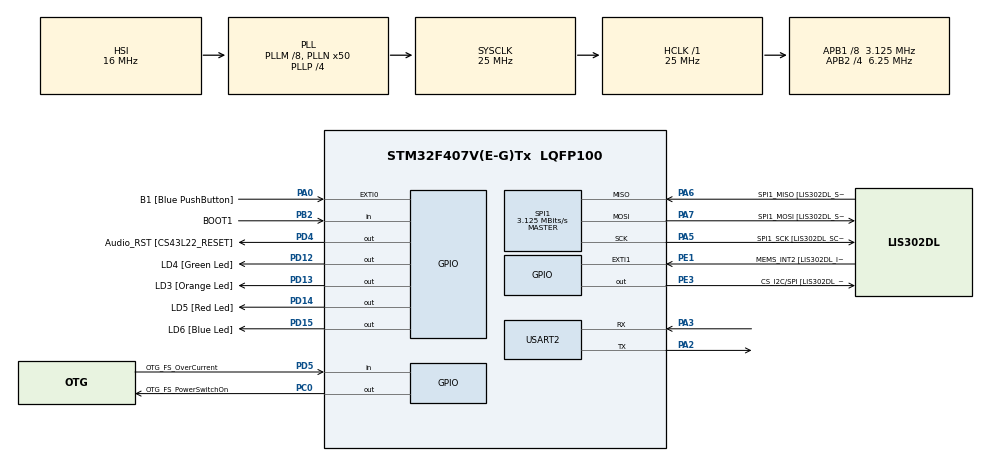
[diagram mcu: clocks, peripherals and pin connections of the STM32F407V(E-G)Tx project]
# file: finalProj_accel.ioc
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Mcu.Family=STM32F4
Mcu.Name=STM32F407V(E-G)Tx
Mcu.Package=LQFP100
NVIC.PriorityGroup=NVIC_PRIORITYGROUP_0
PA0-WKUP.GPIO_Label=B1 [Blue PushButton]
PA0-WKUP.GPIO_ModeDefaultEXTI=GPIO_MODE_EVT_RISING
PA0-WKUP.GPIO_PuPd=GPIO_NOPULL
PA0-WKUP.Signal=GPXTI0
PA10.GPIO_Label=OTG_FS_ID
PA10.GPIO_Mode=GPIO_MODE_AF_PP
PA10.GPIO_PuPd=GPIO_NOPULL
PA10.GPIO_Speed=GPIO_SPEED_FREQ_LOW
PA10.Signal=USB_OTG_FS_ID
PA11.GPIO_Label=OTG_FS_DM
PA11.GPIO_Mode=GPIO_MODE_AF_PP
PA11.GPIO_PuPd=GPIO_NOPULL
PA11.GPIO_Speed=GPIO_SPEED_FREQ_LOW
PA11.Signal=USB_OTG_FS_DM
PA12.GPIO_Label=OTG_FS_DP
PA12.GPIO_Mode=GPIO_MODE_AF_PP
PA12.GPIO_PuPd=GPIO_NOPULL
PA12.GPIO_Speed=GPIO_SPEED_FREQ_LOW
PA12.Signal=USB_OTG_FS_DP
PA13.GPIO_Label=SWDIO
PA13.Signal=SYS_JTMS-SWDIO
PA14.GPIO_Label=SWCLK
PA14.Signal=SYS_JTCK-SWCLK
PA2.Mode=Asynchronous
PA2.Signal=USART2_TX
PA3.Mode=Asynchronous
PA3.Signal=USART2_RX
PA4.GPIO_Label=I2S3_WS [CS43L22_LRCK]
PA4.GPIO_Mode=GPIO_MODE_AF_PP
PA4.GPIO_PuPd=GPIO_NOPULL
PA4.GPIO_Speed=GPIO_SPEED_FREQ_LOW
PA4.Signal=I2S3_WS
PA5.GPIO_Label=SPI1_SCK [LIS302DL_SCL/SPC]
PA5.GPIO_Mode=GPIO_MODE_AF_PP
PA5.GPIO_PuPd=GPIO_NOPULL
PA5.GPIO_Speed=GPIO_SPEED_FREQ_LOW
PA5.Mode=Full_Duplex_Master
PA5.Signal=SPI1_SCK
PA6.GPIO_Label=SPI1_MISO [LIS302DL_SDO]
PA6.GPIO_Mode=GPIO_MODE_AF_PP
PA6.GPIO_PuPd=GPIO_NOPULL
PA6.GPIO_Speed=GPIO_SPEED_FREQ_LOW
PA6.Mode=Full_Duplex_Master
PA6.Signal=SPI1_MISO
PA7.GPIO_Label=SPI1_MOSI [LIS302DL_SDA/SDI/SDO]
PA7.GPIO_Mode=GPIO_MODE_AF_PP
PA7.GPIO_PuPd=GPIO_NOPULL
PA7.GPIO_Speed=GPIO_SPEED_FREQ_LOW
PA7.Mode=Full_Duplex_Master
PA7.Signal=SPI1_MOSI
PA9.GPIO_Label=VBUS_FS
PA9.GPIO_Mode=GPIO_MODE_INPUT
PA9.GPIO_PuPd=GPIO_NOPULL
PA9.Signal=USB_OTG_FS_VBUS
PB10.GPIO_Label=CLK_IN [MP45DT02_CLK]
PB10.GPIO_Mode=GPIO_MODE_AF_PP
PB10.GPIO_PuPd=GPIO_NOPULL
PB10.GPIO_Speed=GPIO_SPEED_FREQ_LOW
PB10.Signal=I2S2_CK
PB2.GPIO_Label=BOOT1
PB2.GPIO_Mode=GPIO_MODE_INPUT
PB2.GPIO_PuPd=GPIO_NOPULL
PB2.Signal=GPIO_Input
PB3.GPIO_Label=SWO
PB3.Signal=SYS_JTDO-SWO
PB6.GPIO_Label=Audio_SCL [CS43L22_SCL]
PB6.GPIO_Mode=GPIO_MODE_AF_OD
PB6.GPIO_PuPd=GPIO_NOPULL
PB6.GPIO_Speed=GPIO_SPEED_FREQ_LOW
PB6.Signal=I2C1_SCL
PB9.GPIO_Label=Audio_SDA [CS43L22_SDA]
PB9.GPIO_Mode=GPIO_MODE_AF_OD
PB9.GPIO_PuPd=GPIO_NOPULL
PB9.GPIO_Speed=GPIO_SPEED_FREQ_LOW
PB9.Signal=I2C1_SDA
PC0.GPIO_Label=OTG_FS_PowerSwitchOn
PC0.GPIO_PuPd=GPIO_NOPULL
PC0.GPIO_Speed=GPIO_SPEED_FREQ_LOW
PC0.PinState=GPIO_PIN_SET
PC0.Signal=GPIO_Output
PC10.GPIO_Label=I2S3_SCK [CS43L22_SCLK]
PC10.GPIO_Mode=GPIO_MODE_AF_PP
PC10.GPIO_PuPd=GPIO_NOPULL
PC10.GPIO_Speed=GPIO_SPEED_FREQ_LOW
PC10.Signal=I2S3_CK
PC12.GPIO_Label=I2S3_SD [CS43L22_SDIN]
PC12.GPIO_Mode=GPIO_MODE_AF_PP
PC12.GPIO_PuPd=GPIO_NOPULL
PC12.GPIO_Speed=GPIO_SPEED_FREQ_LOW
PC12.Signal=I2S3_SD
PC14-OSC32_IN.GPIO_Label=PC14-OSC32_IN
PC14-OSC32_IN.Signal=RCC_OSC32_IN
PC15-OSC32_OUT.GPIO_Label=PC15-OSC32_OUT
PC15-OSC32_OUT.Signal=RCC_OSC32_OUT
PC3.GPIO_Label=PDM_OUT [MP45DT02_DOUT]
PC3.GPIO_Mode=GPIO_MODE_AF_PP
PC3.GPIO_PuPd=GPIO_NOPULL
PC3.GPIO_Speed=GPIO_SPEED_FREQ_LOW
PC3.Signal=I2S2_SD
PC7.GPIO_Label=I2S3_MCK [CS43L22_MCLK]
PC7.GPIO_Mode=GPIO_MODE_AF_PP
PC7.GPIO_PuPd=GPIO_NOPULL
PC7.GPIO_Speed=GPIO_SPEED_FREQ_LOW
PC7.Signal=I2S3_MCK
PD12.GPIO_Label=LD4 [Green Led]
PD12.GPIO_PuPd=GPIO_NOPULL
PD12.GPIO_Speed=GPIO_SPEED_FREQ_LOW
PD12.Signal=GPIO_Output
PD13.GPIO_Label=LD3 [Orange Led]
PD13.GPIO_PuPd=GPIO_NOPULL
PD13.GPIO_Speed=GPIO_SPEED_FREQ_LOW
PD13.Signal=GPIO_Output
PD14.GPIO_Label=LD5 [Red Led]
PD14.GPIO_PuPd=GPIO_NOPULL
PD14.GPIO_Speed=GPIO_SPEED_FREQ_LOW
PD14.Signal=GPIO_Output
PD15.GPIO_Label=LD6 [Blue Led]
PD15.GPIO_PuPd=GPIO_NOPULL
PD15.GPIO_Speed=GPIO_SPEED_FREQ_LOW
PD15.Signal=GPIO_Output
PD4.GPIO_Label=Audio_RST [CS43L22_RESET]
PD4.GPIO_PuPd=GPIO_NOPULL
PD4.GPIO_Speed=GPIO_SPEED_FREQ_LOW
PD4.Signal=GPIO_Output
PD5.GPIO_Label=OTG_FS_OverCurrent
PD5.GPIO_Mode=GPIO_MODE_INPUT
PD5.GPIO_PuPd=GPIO_NOPULL
PD5.Signal=GPIO_Input
PE1.GPIO_Label=MEMS_INT2 [LIS302DL_INT2]
PE1.GPIO_ModeDefaultEXTI=GPIO_MODE_EVT_RISING
PE1.GPIO_PuPd=GPIO_NOPULL
PE1.Signal=GPXTI1
PE3.GPIO_Label=CS_I2C/SPI [LIS302DL_CS_I2C/SPI]
PE3.GPIO_PuPd=GPIO_NOPULL
PE3.GPIO_Speed=GPIO_SPEED_FREQ_LOW
PE3.Signal=GPIO_Output
PH0-OSC_IN.GPIO_Label=PH0-OSC_IN
PH0-OSC_IN.Signal=RCC_OSC_IN
PH1-OSC_OUT.GPIO_Label=PH1-OSC_OUT
PH1-OSC_OUT.Signal=RCC_OSC_OUT
ProjectManager.HeapSize=0x200
ProjectManager.StackSize=0x400
ProjectManager.TargetToolchain=SW4STM32
RCC.48MHZClocksFreq_Value=14285714.285714285
RCC.AHBFreq_Value=25000000
RCC.APB1CLKDivider=RCC_HCLK_DIV8
RCC.APB1Freq_Value=3125000
RCC.APB1TimFreq_Value=6250000
RCC.APB2CLKDivider=RCC_HCLK_DIV4
RCC.APB2Freq_Value=6250000
RCC.APB2TimFreq_Value=12500000
RCC.CortexFreq_Value=25000000
RCC.HCLKFreq_Value=25000000
RCC.HSE_VALUE=8000000
RCC.HSI_VALUE=16000000
RCC.LSE_VALUE=32768
RCC.PLLM=8
RCC.PLLN=50
RCC.PLLP=RCC_PLLP_DIV4
RCC.PLLQ=7
RCC.SYSCLKFreq_VALUE=25000000
RCC.SYSCLKSource=RCC_SYSCLKSOURCE_PLLCLK
RCC.VCOOutputFreq_Value=100000000
SPI1.CalculateBaudRate=3.125 MBits/s
SPI1.Mode=SPI_MODE_MASTER
board=STM32F4DISCOVERY

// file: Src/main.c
/**
  ******************************************************************************
  * File Name          : main.c
  * Description        : Main program body
  ******************************************************************************
  *
  * COPYRIGHT(c) 2016 STMicroelectronics
  *
  * Redistribution and use in source and binary forms, with or without modification,
  * are permitted provided that the following conditions are met:
  *   1. Redistributions of source code must retain the above copyright notice,
  *      this list of conditions and the following disclaimer.
  *   2. Redistributions in binary form must reproduce the above copyright notice,
  *      this list of conditions and the following disclaimer in the documentation
  *      and/or other materials provided with the distribution.
  *   3. Neither the name of STMicroelectronics nor the names of its contributors
  *      may be used to endorse or promote products derived from this software
  *      without specific prior written permission.
  *
  * THIS SOFTWARE IS PROVIDED BY THE COPYRIGHT HOLDERS AND CONTRIBUTORS "AS IS"
  * AND ANY EXPRESS OR IMPLIED WARRANTIES, INCLUDING, BUT NOT LIMITED TO, THE
  * IMPLIED WARRANTIES OF MERCHANTABILITY AND FITNESS FOR A PARTICULAR PURPOSE ARE
  * DISCLAIMED. IN NO EVENT SHALL THE COPYRIGHT HOLDER OR CONTRIBUTORS BE LIABLE
  * FOR ANY DIRECT, INDIRECT, INCIDENTAL, SPECIAL, EXEMPLARY, OR CONSEQUENTIAL
  * DAMAGES (INCLUDING, BUT NOT LIMITED TO, PROCUREMENT OF SUBSTITUTE GOODS OR
  * SERVICES; LOSS OF USE, DATA, OR PROFITS; OR BUSINESS INTERRUPTION) HOWEVER
  * CAUSED AND ON ANY THEORY OF LIABILITY, WHETHER IN CONTRACT, STRICT LIABILITY,
  * OR TORT (INCLUDING NEGLIGENCE OR OTHERWISE) ARISING IN ANY WAY OUT OF THE USE
  * OF THIS SOFTWARE, EVEN IF ADVISED OF THE POSSIBILITY OF SUCH DAMAGE.
  *
  ******************************************************************************
  */
#include "stm32f4xx_hal.h"

SPI_HandleTypeDef hspi1;

UART_HandleTypeDef huart2;

/* USER CODE BEGIN PV */
/* Private variables ---------------------------------------------------------*/

/* USER CODE END PV */

void SystemClock_Config(void);
void Error_Handler(void);
static void MX_GPIO_Init(void);
static void MX_SPI1_Init(void);
static void MX_USART2_UART_Init(void);

/* USER CODE BEGIN PFP */
/* Private function prototypes -----------------------------------------------*/

/* USER CODE END PFP */

int main(void)
{

  /* USER CODE BEGIN 1 */
	uint8_t address,data,x_accel,y_accel,z_accel,buffer[100];
	uint32_t timeout=100;
  /* USER CODE END 1 */

  /* MCU Configuration----------------------------------------------------------*/

  /* Reset of all peripherals, Initializes the Flash interface and the Systick. */
  HAL_Init();

  /* Configure the system clock */
  SystemClock_Config();

  /* Initialize all configured peripherals */
  MX_GPIO_Init();
  MX_SPI1_Init();
  MX_USART2_UART_Init();

  /* USER CODE BEGIN 2 */
  	HAL_GPIO_WritePin(GPIOE,GPIO_PIN_3,GPIO_PIN_RESET);
	address=0x20;		//address CTRL_REG1 @20h
	HAL_SPI_Transmit(&hspi1,&address,1,timeout);
	//  data=0x67;		//set value for CTRL_REG1 #01100111
	data=0x47;		//						   01000111
	HAL_SPI_Transmit(&hspi1,&data,1,timeout);
	HAL_GPIO_WritePin(GPIOE,GPIO_PIN_3,GPIO_PIN_SET);
  /* USER CODE END 2 */

  /* Infinite loop */
  while (1)
  {

  /* USER CODE BEGIN 3 */
	 //read x-accel
		HAL_GPIO_WritePin(GPIOE,GPIO_PIN_3,GPIO_PIN_RESET);
		address=0x29 + 0x80;	//address x_out @29h
		HAL_SPI_Transmit(&hspi1,&address,1,timeout);
		HAL_SPI_Receive(&hspi1,&x_accel,1,timeout);
		//HAL_GPIO_WritePin(GPIOE,GPIO_PIN_3,GPIO_PIN_SET);
	//read y-accel
		//HAL_GPIO_WritePin(GPIOE,GPIO_PIN_3,GPIO_PIN_RESET);
		address=0x2B + 0x80;	//address x_out @29h
		HAL_SPI_Transmit(&hspi1,&address,1,timeout);
		HAL_SPI_Receive(&hspi1,&y_accel,1,timeout);
		//HAL_GPIO_WritePin(GPIOE,GPIO_PIN_3,GPIO_PIN_SET);
	//read z-accel
		//HAL_GPIO_WritePin(GPIOE,GPIO_PIN_3,GPIO_PIN_RESET);
		address=0x2D + 0x80;	//address z_out @29h
		HAL_SPI_Transmit(&hspi1,&address,1,timeout);
		HAL_SPI_Receive(&hspi1,&z_accel,1,timeout);
		HAL_GPIO_WritePin(GPIOE,GPIO_PIN_3,GPIO_PIN_SET);

		int nac=sprintf(buffer," | %3d | %3d  | %3d |\r\n",x_accel,y_accel,z_accel);
		HAL_UART_Transmit(&huart2,buffer,nac,timeout);
		//*/

		///*
		//show accel through LEDs
		if(x_accel>0x00 && x_accel<0x40)
			HAL_GPIO_WritePin(GPIOD,GPIO_PIN_14,GPIO_PIN_SET);
		else HAL_GPIO_WritePin(GPIOD,GPIO_PIN_14,GPIO_PIN_RESET);
		if(x_accel>0xA0 && x_accel<0xFE)
			HAL_GPIO_WritePin(GPIOD,GPIO_PIN_12,GPIO_PIN_SET);
		else HAL_GPIO_WritePin(GPIOD,GPIO_PIN_12,GPIO_PIN_RESET);
		//
		if(y_accel>0x00 && y_accel<0x40)
					HAL_GPIO_WritePin(GPIOD,GPIO_PIN_13,GPIO_PIN_SET);
		else HAL_GPIO_WritePin(GPIOD,GPIO_PIN_13,GPIO_PIN_RESET);
		if(y_accel>0xA0 && y_accel<0xFE)
			HAL_GPIO_WritePin(GPIOD,GPIO_PIN_15,GPIO_PIN_SET);
		else HAL_GPIO_WritePin(GPIOD,GPIO_PIN_15,GPIO_PIN_RESET);
		//*/

  }
  /* USER CODE END 3 */

}

/** System Clock Configuration
*/
void SystemClock_Config(void)
{

  RCC_OscInitTypeDef RCC_OscInitStruct;
  RCC_ClkInitTypeDef RCC_ClkInitStruct;

  __HAL_RCC_PWR_CLK_ENABLE();

  __HAL_PWR_VOLTAGESCALING_CONFIG(PWR_REGULATOR_VOLTAGE_SCALE1);

  RCC_OscInitStruct.OscillatorType = RCC_OSCILLATORTYPE_HSI;
  RCC_OscInitStruct.HSIState = RCC_HSI_ON;
  RCC_OscInitStruct.HSICalibrationValue = 16;
  RCC_OscInitStruct.PLL.PLLState = RCC_PLL_ON;
  RCC_OscInitStruct.PLL.PLLSource = RCC_PLLSOURCE_HSI;
  RCC_OscInitStruct.PLL.PLLM = 8;
  RCC_OscInitStruct.PLL.PLLN = 50;
  RCC_OscInitStruct.PLL.PLLP = RCC_PLLP_DIV4;
  RCC_OscInitStruct.PLL.PLLQ = 7;
  if (HAL_RCC_OscConfig(&RCC_OscInitStruct) != HAL_OK)
  {
    Error_Handler();
  }

  RCC_ClkInitStruct.ClockType = RCC_CLOCKTYPE_HCLK|RCC_CLOCKTYPE_SYSCLK
                              |RCC_CLOCKTYPE_PCLK1|RCC_CLOCKTYPE_PCLK2;
  RCC_ClkInitStruct.SYSCLKSource = RCC_SYSCLKSOURCE_PLLCLK;
  RCC_ClkInitStruct.AHBCLKDivider = RCC_SYSCLK_DIV1;
  RCC_ClkInitStruct.APB1CLKDivider = RCC_HCLK_DIV8;
  RCC_ClkInitStruct.APB2CLKDivider = RCC_HCLK_DIV4;
  if (HAL_RCC_ClockConfig(&RCC_ClkInitStruct, FLASH_LATENCY_0) != HAL_OK)
  {
    Error_Handler();
  }

  HAL_SYSTICK_Config(HAL_RCC_GetHCLKFreq()/1000);

  HAL_SYSTICK_CLKSourceConfig(SYSTICK_CLKSOURCE_HCLK);

  /* SysTick_IRQn interrupt configuration */
  HAL_NVIC_SetPriority(SysTick_IRQn, 0, 0);
}

/* SPI1 init function */
static void MX_SPI1_Init(void)
{

  hspi1.Instance = SPI1;
  hspi1.Init.Mode = SPI_MODE_MASTER;
  hspi1.Init.Direction = SPI_DIRECTION_2LINES;
  hspi1.Init.DataSize = SPI_DATASIZE_8BIT;
  hspi1.Init.CLKPolarity = SPI_POLARITY_LOW;
  hspi1.Init.CLKPhase = SPI_PHASE_1EDGE;
  hspi1.Init.NSS = SPI_NSS_SOFT;
  hspi1.Init.BaudRatePrescaler = SPI_BAUDRATEPRESCALER_2;
  hspi1.Init.FirstBit = SPI_FIRSTBIT_MSB;
  hspi1.Init.TIMode = SPI_TIMODE_DISABLE;
  hspi1.Init.CRCCalculation = SPI_CRCCALCULATION_DISABLE;
  hspi1.Init.CRCPolynomial = 10;
  if (HAL_SPI_Init(&hspi1) != HAL_OK)
  {
    Error_Handler();
  }

}

/* USART2 init function */
static void MX_USART2_UART_Init(void)
{

  huart2.Instance = USART2;
  huart2.Init.BaudRate = 115200;
  huart2.Init.WordLength = UART_WORDLENGTH_8B;
  huart2.Init.StopBits = UART_STOPBITS_1;
  huart2.Init.Parity = UART_PARITY_NONE;
  huart2.Init.Mode = UART_MODE_TX_RX;
  huart2.Init.HwFlowCtl = UART_HWCONTROL_NONE;
  huart2.Init.OverSampling = UART_OVERSAMPLING_16;
  if (HAL_UART_Init(&huart2) != HAL_OK)
  {
    Error_Handler();
  }

}

/** Configure pins as
        * Analog
        * Input
        * Output
        * EVENT_OUT
        * EXTI
     PC3   ------> I2S2_SD
     PA4   ------> I2S3_WS
     PB10   ------> I2S2_CK
     PC7   ------> I2S3_MCK
     PA9   ------> USB_OTG_FS_VBUS
     PA10   ------> USB_OTG_FS_ID
     PA11   ------> USB_OTG_FS_DM
     PA12   ------> USB_OTG_FS_DP
     PC10   ------> I2S3_CK
     PC12   ------> I2S3_SD
     PB6   ------> I2C1_SCL
     PB9   ------> I2C1_SDA
*/
static void MX_GPIO_Init(void)
{

  GPIO_InitTypeDef GPIO_InitStruct;

  /* GPIO Ports Clock Enable */
  __HAL_RCC_GPIOE_CLK_ENABLE();
  __HAL_RCC_GPIOC_CLK_ENABLE();
  __HAL_RCC_GPIOH_CLK_ENABLE();
  __HAL_RCC_GPIOA_CLK_ENABLE();
  __HAL_RCC_GPIOB_CLK_ENABLE();
  __HAL_RCC_GPIOD_CLK_ENABLE();

  /*Configure GPIO pin Output Level */
  HAL_GPIO_WritePin(CS_I2C_SPI_GPIO_Port, CS_I2C_SPI_Pin, GPIO_PIN_RESET);

  /*Configure GPIO pin Output Level */
  HAL_GPIO_WritePin(OTG_FS_PowerSwitchOn_GPIO_Port, OTG_FS_PowerSwitchOn_Pin, GPIO_PIN_SET);

  /*Configure GPIO pin Output Level */
  HAL_GPIO_WritePin(GPIOD, LD4_Pin|LD3_Pin|LD5_Pin|LD6_Pin
                          |Audio_RST_Pin, GPIO_PIN_RESET);

  /*Configure GPIO pin : CS_I2C_SPI_Pin */
  GPIO_InitStruct.Pin = CS_I2C_SPI_Pin;
  GPIO_InitStruct.Mode = GPIO_MODE_OUTPUT_PP;
  GPIO_InitStruct.Pull = GPIO_NOPULL;
  GPIO_InitStruct.Speed = GPIO_SPEED_FREQ_LOW;
  HAL_GPIO_Init(CS_I2C_SPI_GPIO_Port, &GPIO_InitStruct);

  /*Configure GPIO pin : OTG_FS_PowerSwitchOn_Pin */
  GPIO_InitStruct.Pin = OTG_FS_PowerSwitchOn_Pin;
  GPIO_InitStruct.Mode = GPIO_MODE_OUTPUT_PP;
  GPIO_InitStruct.Pull = GPIO_NOPULL;
  GPIO_InitStruct.Speed = GPIO_SPEED_FREQ_LOW;
  HAL_GPIO_Init(OTG_FS_PowerSwitchOn_GPIO_Port, &GPIO_InitStruct);

  /*Configure GPIO pin : PDM_OUT_Pin */
  GPIO_InitStruct.Pin = PDM_OUT_Pin;
  GPIO_InitStruct.Mode = GPIO_MODE_AF_PP;
  GPIO_InitStruct.Pull = GPIO_NOPULL;
  GPIO_InitStruct.Speed = GPIO_SPEED_FREQ_LOW;
  GPIO_InitStruct.Alternate = GPIO_AF5_SPI2;
  HAL_GPIO_Init(PDM_OUT_GPIO_Port, &GPIO_InitStruct);

  /*Configure GPIO pin : B1_Pin */
  GPIO_InitStruct.Pin = B1_Pin;
  GPIO_InitStruct.Mode = GPIO_MODE_EVT_RISING;
  GPIO_InitStruct.Pull = GPIO_NOPULL;
  HAL_GPIO_Init(B1_GPIO_Port, &GPIO_InitStruct);

  /*Configure GPIO pin : PA4 */
  GPIO_InitStruct.Pin = GPIO_PIN_4;
  GPIO_InitStruct.Mode = GPIO_MODE_AF_PP;
  GPIO_InitStruct.Pull = GPIO_NOPULL;
  GPIO_InitStruct.Speed = GPIO_SPEED_FREQ_LOW;
  GPIO_InitStruct.Alternate = GPIO_AF6_SPI3;
  HAL_GPIO_Init(GPIOA, &GPIO_InitStruct);

  /*Configure GPIO pin : BOOT1_Pin */
  GPIO_InitStruct.Pin = BOOT1_Pin;
  GPIO_InitStruct.Mode = GPIO_MODE_INPUT;
  GPIO_InitStruct.Pull = GPIO_NOPULL;
  HAL_GPIO_Init(BOOT1_GPIO_Port, &GPIO_InitStruct);

  /*Configure GPIO pin : CLK_IN_Pin */
  GPIO_InitStruct.Pin = CLK_IN_Pin;
  GPIO_InitStruct.Mode = GPIO_MODE_AF_PP;
  GPIO_InitStruct.Pull = GPIO_NOPULL;
  GPIO_InitStruct.Speed = GPIO_SPEED_FREQ_LOW;
  GPIO_InitStruct.Alternate = GPIO_AF5_SPI2;
  HAL_GPIO_Init(CLK_IN_GPIO_Port, &GPIO_InitStruct);

  /*Configure GPIO pins : LD4_Pin LD3_Pin LD5_Pin LD6_Pin
                           Audio_RST_Pin */
  GPIO_InitStruct.Pin = LD4_Pin|LD3_Pin|LD5_Pin|LD6_Pin
                          |Audio_RST_Pin;
  GPIO_InitStruct.Mode = GPIO_MODE_OUTPUT_PP;
  GPIO_InitStruct.Pull = GPIO_NOPULL;
  GPIO_InitStruct.Speed = GPIO_SPEED_FREQ_LOW;
  HAL_GPIO_Init(GPIOD, &GPIO_InitStruct);

  /*Configure GPIO pins : PC7 I2S3_SCK_Pin PC12 */
  GPIO_InitStruct.Pin = GPIO_PIN_7|I2S3_SCK_Pin|GPIO_PIN_12;
  GPIO_InitStruct.Mode = GPIO_MODE_AF_PP;
  GPIO_InitStruct.Pull = GPIO_NOPULL;
  GPIO_InitStruct.Speed = GPIO_SPEED_FREQ_LOW;
  GPIO_InitStruct.Alternate = GPIO_AF6_SPI3;
  HAL_GPIO_Init(GPIOC, &GPIO_InitStruct);

  /*Configure GPIO pin : VBUS_FS_Pin */
  GPIO_InitStruct.Pin = VBUS_FS_Pin;
  GPIO_InitStruct.Mode = GPIO_MODE_INPUT;
  GPIO_InitStruct.Pull = GPIO_NOPULL;
  HAL_GPIO_Init(VBUS_FS_GPIO_Port, &GPIO_InitStruct);

  /*Configure GPIO pins : OTG_FS_ID_Pin OTG_FS_DM_Pin OTG_FS_DP_Pin */
  GPIO_InitStruct.Pin = OTG_FS_ID_Pin|OTG_FS_DM_Pin|OTG_FS_DP_Pin;
  GPIO_InitStruct.Mode = GPIO_MODE_AF_PP;
  GPIO_InitStruct.Pull = GPIO_NOPULL;
  GPIO_InitStruct.Speed = GPIO_SPEED_FREQ_LOW;
  GPIO_InitStruct.Alternate = GPIO_AF10_OTG_FS;
  HAL_GPIO_Init(GPIOA, &GPIO_InitStruct);

  /*Configure GPIO pin : OTG_FS_OverCurrent_Pin */
  GPIO_InitStruct.Pin = OTG_FS_OverCurrent_Pin;
  GPIO_InitStruct.Mode = GPIO_MODE_INPUT;
  GPIO_InitStruct.Pull = GPIO_NOPULL;
  HAL_GPIO_Init(OTG_FS_OverCurrent_GPIO_Port, &GPIO_InitStruct);

  /*Configure GPIO pins : Audio_SCL_Pin Audio_SDA_Pin */
  GPIO_InitStruct.Pin = Audio_SCL_Pin|Audio_SDA_Pin;
  GPIO_InitStruct.Mode = GPIO_MODE_AF_OD;
  GPIO_InitStruct.Pull = GPIO_PULLUP;
  GPIO_InitStruct.Speed = GPIO_SPEED_FREQ_LOW;
  GPIO_InitStruct.Alternate = GPIO_AF4_I2C1;
  HAL_GPIO_Init(GPIOB, &GPIO_InitStruct);

  /*Configure GPIO pin : MEMS_INT2_Pin */
  GPIO_InitStruct.Pin = MEMS_INT2_Pin;
  GPIO_InitStruct.Mode = GPIO_MODE_EVT_RISING;
  GPIO_InitStruct.Pull = GPIO_NOPULL;
  HAL_GPIO_Init(MEMS_INT2_GPIO_Port, &GPIO_InitStruct);

}

void Error_Handler(void)
{
  while(1)
  {
  }
}

/************************ (C) COPYRIGHT STMicroelectronics *****END OF FILE****/
